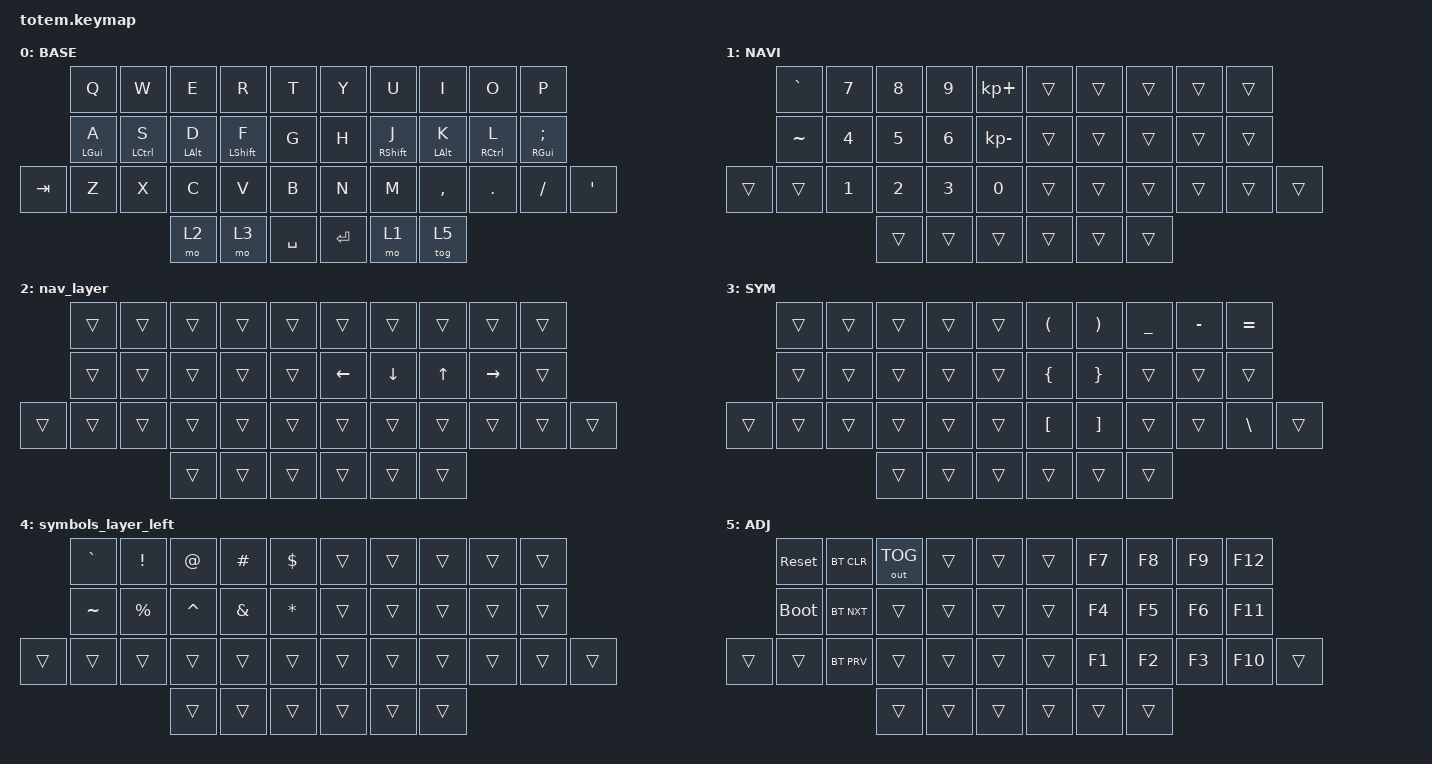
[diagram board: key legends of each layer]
//
//                                                        ▀▀▀▀▀     ▀▀▀▀▀          ▀▀█▀▀
//                                                        ▄▀▀▀▄  ▄  ▄▀▀▀▄  ▄  ▄▀▀▀▄  █  ▄▀▀▀▄
//                                                        █   █  █  █   █  █  █   █  █  █   █
//                                                         ▀▀▀   █   ▀▀▀   █   ▀▀▀   ▀   ▀▀▀
//                                                               █      ▄▄▄█▄▄▄    █   █  
//                                                               ▀      █  █  █     █▄█
//                                                             ▀▀▀▀▀    █  █  █      ▀
//                                                                      ▀  ▀  ▀
//
// ▄▄▄▄▄▄▄▄▄▄▄▄▄▄▄▄▄▄▄▄▄▄▄▄▄▄▄▄▄▄▄▄▄▄▄▄▄▄▄▄▄▄▄▄▄▄▄▄▄▄▄▄▄▄▄▄▄▄▄▄▄▄▄▄▄▄▄▄▄▄▄▄▄▄▄▄▄▄▄▄▄▄▄▄▄▄▄▄▄▄▄▄▄▄▄▄▄▄▄▄▄▄▄▄▄▄▄▄▄▄▄▄▄▄▄▄▄▄▄▄▄▄▄▄▄▄▄▄▄▄▄▄▄▄▄▄▄▄▄▄▄▄▄▄▄▄▄▄▄

#include <behaviors.dtsi>
#include <dt-bindings/zmk/bt.h>
#include <dt-bindings/zmk/keys.h>
#include <dt-bindings/zmk/outputs.h>

#define BASE 0
#define NAV  1
#define SYM  2
#define ADJ  3
#define TVP1 4
#define TVP2 5

&mt {
    quick-tap-ms = <100>;
    global-quick-tap;
    flavor = "tap-preferred";
    tapping-term-ms = <150>;
};

/ {
    combos {
        compatible = "zmk,combos";

        combo_esc {
            timeout-ms = <50>;
            key-positions = <0 1>;
            bindings = <&kp ESC>;
        };

        combo_tvp {
            timeout-ms = <100>;
            key-positions = <11 12 13>;
            bindings = <&tog 1>;
        };

        combo_enter {
            bindings = <&kp ENTER>;
            key-positions = <16 15>;
        };

        combo_backspace {
            bindings = <&kp BACKSPACE>;
            key-positions = <9 8>;
        };

        combo_delete {
            bindings = <&kp DELETE>;
            key-positions = <5 6>;
        };
    };

    macros {
        gif: gif {
            label = "giphy";
            compatible = "zmk,behavior-macro";
            #binding-cells = <0>;
            bindings =
                <&macro_press>,
                <&kp LSHFT>,
                <&macro_tap>,
                <&kp N2>,
                <&macro_release>,
                <&kp LSHFT>,
                <&macro_tap>,
                <&kp G &kp I &kp F>;
        };
    };

    keymap {
        compatible = "zmk,keymap";

        // ▄▄▄▄▄▄▄▄▄▄▄▄▄▄▄▄▄▄▄▄▄▄▄▄▄▄▄▄▄▄▄▄▄▄▄▄▄▄▄▄▄▄▄▄▄▄▄▄▄▄▄▄▄▄▄▄▄▄▄▄▄▄▄▄▄▄▄▄▄▄▄▄▄▄▄▄▄▄▄▄▄▄▄▄▄▄▄▄▄▄▄▄▄▄▄▄▄▄▄▄▄▄▄▄▄▄▄▄▄▄▄▄▄▄▄▄▄▄▄▄▄▄▄▄▄▄▄▄▄▄▄▄▄▄▄▄▄▄▄▄▄▄▄▄▄▄▄▄▄

        base_layer {
            // ┏━━━━━━━━━━━━━━━━━━━━━━━━━━━━━━━━━━━━━━━┓

            label = "BASE";

            // ┗━━━━━━━━━━━━━━━━━━━━━━━━━━━━━━━━━━━━━━━┛
            //             ┏━━━━━━━━━━━┳━━━━━━━━━━━┳━━━━━━━━━━━┳━━━━━━━━━━━┳━━━━━━━━━━━┓   ┏━━━━━━━━━━━┳━━━━━━━━━━━┳━━━━━━━━━━━┳━━━━━━━━━━━┳━━━━━━━━━━━┓
            //             ┃     Q     ┃     W     ┃     F     ┃     P     ┃     G     ┃   ┃     J     ┃     L     ┃     U     ┃     Y     ┃     ;     ┃
            //             ┣━━━━━━━━━━━╋━━━━━━━━━━━╋━━━━━━━━━━━╋━━━━━━━━━━━╋━━━━━━━━━━━┫   ┣━━━━━━━━━━━╋━━━━━━━━━━━╋━━━━━━━━━━━╋━━━━━━━━━━━╋━━━━━━━━━━━┫
            //             ┃     A     ┃     R     ┃     S     ┃     T     ┃     D     ┃   ┃     H     ┃     N     ┃     E     ┃     I     ┃     O     ┃
            // ┏━━━━━━━━━━━╋━━━━━━━━━━━╋━━━━━━━━━━━╋━━━━━━━━━━━╋━━━━━━━━━━━╋━━━━━━━━━━━┫   ┣━━━━━━━━━━━╋━━━━━━━━━━━╋━━━━━━━━━━━╋━━━━━━━━━━━╋━━━━━━━━━━━╋━━━━━━━━━━━┓
            // ┃     Q     ┃     Z     ┃     X     ┃     C     ┃     V     ┃     B     ┃   ┃     K     ┃     M     ┃     ,     ┃     .     ┃     /     ┃     \     ┃
            // ┗━━━━━━━━━━━┻━━━━━━━━━━━┻━━━━━━━━━━━╋━━━━━━━━━━━╋━━━━━━━━━━━╋━━━━━━━━━━━┫   ┣━━━━━━━━━━━╋━━━━━━━━━━━╋━━━━━━━━━━━╋━━━━━━━━━━━┻━━━━━━━━━━━┻━━━━━━━━━━━┛
            //                                     ┃    DEL    ┃    TAB    ┃    SPC    ┃   ┃   ENTER   ┃           ┃   BSPC    ┃
            //                                     ┗━━━━━━━━━━━┻━━━━━━━━━━━┻━━━━━━━━━━━┛   ┗━━━━━━━━━━━┻━━━━━━━━━━━┻━━━━━━━━━━━┛

            bindings = <
         &kp Q       &kp W               &kp E           &kp R        &kp T        &kp Y    &kp U        &kp I           &kp O                &kp P
         &mt LGUI A  &mt LEFT_CONTROL S  &mt LEFT_ALT D  &mt LSHFT F  &kp G        &kp H    &mt RSHFT J  &mt LEFT_ALT K  &mt RIGHT_CONTROL L  &mt RGUI SEMICOLON
&kp TAB  &kp Z       &kp X               &kp C           &kp V        &kp B        &kp N    &kp M        &kp COMMA       &kp DOT              &kp FSLH            &kp SQT
                                         &mo 2           &mo 3        &kp SPACE    &kp RET  &mo 1        &tog 5
            >;
        };

        num_layer {
            // ┏━━━━━━━━━━━━━━━━━━━━━━━━━━━━━━━━━━━━━━━┓

            label = "NAVI";

            // ┗━━━━━━━━━━━━━━━━━━━━━━━━━━━━━━━━━━━━━━━┛
            //             ┏━━━━━━━━━━━┳━━━━━━━━━━━┳━━━━━━━━━━━┳━━━━━━━━━━━┳━━━━━━━━━━━┓   ┏━━━━━━━━━━━┳━━━━━━━━━━━┳━━━━━━━━━━━┳━━━━━━━━━━━┳━━━━━━━━━━━┓
            //             ┃           ┃           ┃     UP    ┃           ┃     {     ┃   ┃     }     ┃     7     ┃     8     ┃     9     ┃     +     ┃
            //             ┣━━━━━━━━━━━╋━━━━━━━━━━━╋━━━━━━━━━━━╋━━━━━━━━━━━╋━━━━━━━━━━━┫   ┣━━━━━━━━━━━╋━━━━━━━━━━━╋━━━━━━━━━━━╋━━━━━━━━━━━╋━━━━━━━━━━━┫
            //             ┃   SHIFT   ┃   LEFT    ┃    DOWN   ┃   RIGHT   ┃     [     ┃   ┃     ]     ┃     4     ┃     5     ┃     6     ┃     -     ┃
            // ┏━━━━━━━━━━━╋━━━━━━━━━━━╋━━━━━━━━━━━╋━━━━━━━━━━━╋━━━━━━━━━━━╋━━━━━━━━━━━┫   ┣━━━━━━━━━━━╋━━━━━━━━━━━╋━━━━━━━━━━━╋━━━━━━━━━━━╋━━━━━━━━━━━╋━━━━━━━━━━━┓
            // ┃           ┃           ┃   P UP    ┃  C LOCK   ┃  P DOWN   ┃     (     ┃   ┃     )     ┃     1     ┃     2     ┃     3     ┃     *     ┃           ┃
            // ┗━━━━━━━━━━━┻━━━━━━━━━━━┻━━━━━━━━━━━╋━━━━━━━━━━━╋━━━━━━━━━━━╋━━━━━━━━━━━┫   ┣━━━━━━━━━━━╋━━━━━━━━━━━╋━━━━━━━━━━━╋━━━━━━━━━━━┻━━━━━━━━━━━┻━━━━━━━━━━━┛
            //                                     ┃           ┃    TAB    ┃    SPC    ┃   ┃    DEL    ┃     0     ┃           ┃
            //                                     ┗━━━━━━━━━━━┻━━━━━━━━━━━┻━━━━━━━━━━━┛   ┗━━━━━━━━━━━┻━━━━━━━━━━━┻━━━━━━━━━━━┛

            bindings = <
        &kp GRAVE  &kp N7        &kp N8        &kp N9        &kp KP_PLUS     &trans  &trans  &trans  &trans  &trans
        &kp TILDE  &kp NUMBER_4  &kp N5        &kp NUMBER_6  &kp KP_MINUS    &trans  &trans  &trans  &trans  &trans
&trans  &trans     &kp NUMBER_1  &kp NUMBER_2  &kp NUMBER_3  &kp N0          &trans  &trans  &trans  &trans  &trans  &trans
                                 &trans        &trans        &trans          &trans  &trans  &trans
            >;
        };

        nav_layer {
            bindings = <
        &trans  &trans  &trans  &trans  &trans    &trans          &trans          &trans        &trans     &trans
        &trans  &trans  &trans  &trans  &trans    &kp LEFT_ARROW  &kp DOWN_ARROW  &kp UP_ARROW  &kp RIGHT  &trans
&trans  &trans  &trans  &trans  &trans  &trans    &trans          &trans          &trans        &trans     &trans  &trans
                        &trans  &trans  &trans    &trans          &trans          &trans
            >;
        };

        symbols_layer_right {
            // ┏━━━━━━━━━━━━━━━━━━━━━━━━━━━━━━━━━━━━━━━┓

            label = "SYM";

            // ┗━━━━━━━━━━━━━━━━━━━━━━━━━━━━━━━━━━━━━━━┛
            //             ┏━━━━━━━━━━━┳━━━━━━━━━━━┳━━━━━━━━━━━┳━━━━━━━━━━━┳━━━━━━━━━━━┓   ┏━━━━━━━━━━━┳━━━━━━━━━━━┳━━━━━━━━━━━┳━━━━━━━━━━━┳━━━━━━━━━━━┓
            //             ┃     !     ┃     @     ┃     #     ┃     $     ┃     %     ┃   ┃     ˆ     ┃     &     ┃     Ü     ┃     '     ┃     "     ┃
            //             ┣━━━━━━━━━━━╋━━━━━━━━━━━╋━━━━━━━━━━━╋━━━━━━━━━━━╋━━━━━━━━━━━┫   ┣━━━━━━━━━━━╋━━━━━━━━━━━╋━━━━━━━━━━━╋━━━━━━━━━━━╋━━━━━━━━━━━┫
            //             ┃     Ä     ┃           ┃    SZ     ┃           ┃           ┃   ┃   MUTE    ┃   YEN     ┃   EURO    ┃  POUND    ┃     Ö     ┃
            // ┏━━━━━━━━━━━╋━━━━━━━━━━━╋━━━━━━━━━━━╋━━━━━━━━━━━╋━━━━━━━━━━━╋━━━━━━━━━━━┫   ┣━━━━━━━━━━━╋━━━━━━━━━━━╋━━━━━━━━━━━╋━━━━━━━━━━━╋━━━━━━━━━━━╋━━━━━━━━━━━┓
            // ┃           ┃  EMAIL1   ┃  EMAIL2   ┃           ┃           ┃           ┃   ┃   VOL-    ┃   VOL+    ┃   LAST    ┃   NEXT    ┃     \     ┃           ┃
            // ┗━━━━━━━━━━━┻━━━━━━━━━━━┻━━━━━━━━━━━╋━━━━━━━━━━━╋━━━━━━━━━━━╋━━━━━━━━━━━┫   ┣━━━━━━━━━━━╋━━━━━━━━━━━╋━━━━━━━━━━━╋━━━━━━━━━━━┻━━━━━━━━━━━┻━━━━━━━━━━━┛
            //                                     ┃           ┃    GIF    ┃    ADJ    ┃   ┃           ┃           ┃           ┃
            //                                     ┗━━━━━━━━━━━┻━━━━━━━━━━━┻━━━━━━━━━━━┛   ┗━━━━━━━━━━━┻━━━━━━━━━━━┻━━━━━━━━━━━┛

            bindings = <
        &trans  &trans  &trans  &trans  &trans    &kp LEFT_PARENTHESIS  &kp RIGHT_PARENTHESIS  &kp UNDERSCORE  &kp MINUS  &kp EQUAL
        &trans  &trans  &trans  &trans  &trans    &kp LEFT_BRACE        &kp RIGHT_BRACE        &trans          &trans     &trans
&trans  &trans  &trans  &trans  &trans  &trans    &kp LEFT_BRACKET      &kp RIGHT_BRACKET      &trans          &trans     &kp BACKSLASH  &trans
                        &trans  &trans  &trans    &trans                &trans                 &trans
            >;
        };

        symbols_layer_left {
            bindings = <
        &kp GRAVE  &kp EXCLAMATION  &kp AT     &kp HASH       &kp DOLLAR      &trans  &trans  &trans  &trans  &trans
        &kp TILDE  &kp PERCENT      &kp CARET  &kp AMPERSAND  &kp ASTERISK    &trans  &trans  &trans  &trans  &trans
&trans  &trans     &trans           &trans     &trans         &trans          &trans  &trans  &trans  &trans  &trans  &trans
                                    &trans     &trans         &trans          &trans  &trans  &trans
            >;
        };

        adjust_layer {
            // ┏━━━━━━━━━━━━━━━━━━━━━━━━━━━━━━━━━━━━━━━┓

            label = "ADJ";

            // ┗━━━━━━━━━━━━━━━━━━━━━━━━━━━━━━━━━━━━━━━┛
            //             ┏━━━━━━━━━━━┳━━━━━━━━━━━┳━━━━━━━━━━━┳━━━━━━━━━━━┳━━━━━━━━━━━┓   ┏━━━━━━━━━━━┳━━━━━━━━━━━┳━━━━━━━━━━━┳━━━━━━━━━━━┳━━━━━━━━━━━┓
            //             ┃   RESET   ┃ BT CLEAR  ┃  OUT TOG  ┃           ┃           ┃   ┃           ┃    F7     ┃    F8     ┃    F9     ┃    F12    ┃
            //             ┣━━━━━━━━━━━╋━━━━━━━━━━━╋━━━━━━━━━━━╋━━━━━━━━━━━╋━━━━━━━━━━━┫   ┣━━━━━━━━━━━╋━━━━━━━━━━━╋━━━━━━━━━━━╋━━━━━━━━━━━╋━━━━━━━━━━━┫
            //             ┃ BOOTLOAD  ┃ BT NEXT   ┃           ┃           ┃           ┃   ┃           ┃    F4     ┃    F5     ┃    F6     ┃    F11    ┃
            // ┏━━━━━━━━━━━╋━━━━━━━━━━━╋━━━━━━━━━━━╋━━━━━━━━━━━╋━━━━━━━━━━━╋━━━━━━━━━━━┫   ┣━━━━━━━━━━━╋━━━━━━━━━━━╋━━━━━━━━━━━╋━━━━━━━━━━━╋━━━━━━━━━━━╋━━━━━━━━━━━┓
            // ┃           ┃           ┃ BT PREV   ┃           ┃           ┃           ┃   ┃           ┃    F1     ┃    F2     ┃    F3     ┃    F10    ┃           ┃
            // ┗━━━━━━━━━━━┻━━━━━━━━━━━┻━━━━━━━━━━━╋━━━━━━━━━━━╋━━━━━━━━━━━╋━━━━━━━━━━━┫   ┣━━━━━━━━━━━╋━━━━━━━━━━━╋━━━━━━━━━━━╋━━━━━━━━━━━┻━━━━━━━━━━━┻━━━━━━━━━━━┛
            //                                     ┃           ┃           ┃           ┃   ┃           ┃           ┃           ┃
            //                                     ┗━━━━━━━━━━━┻━━━━━━━━━━━┻━━━━━━━━━━━┛   ┗━━━━━━━━━━━┻━━━━━━━━━━━┻━━━━━━━━━━━┛

            bindings = <
        &sys_reset   &bt BT_CLR  &out OUT_TOG  &trans  &trans    &trans  &kp F7  &kp F8  &kp F9  &kp F12
        &bootloader  &bt BT_NXT  &trans        &trans  &trans    &trans  &kp F4  &kp F5  &kp F6  &kp F11
&trans  &trans       &bt BT_PRV  &trans        &trans  &trans    &trans  &kp F1  &kp F2  &kp F3  &kp F10  &trans
                                 &trans        &trans  &trans    &trans  &trans  &trans
            >;
        };
    };
};
